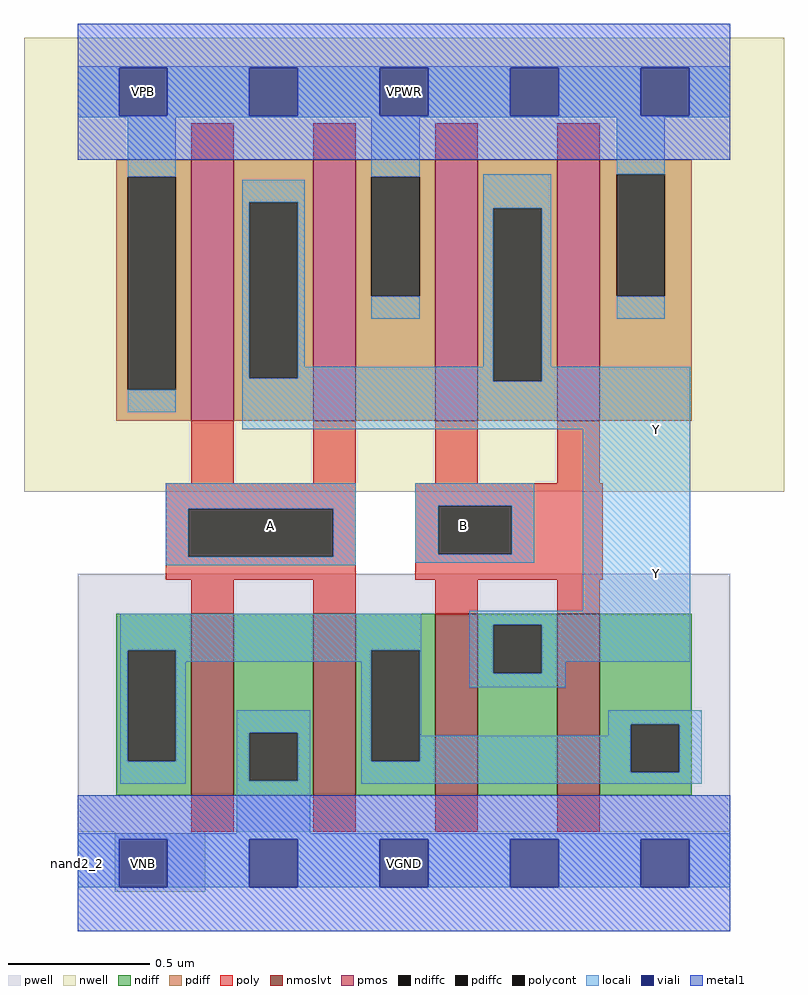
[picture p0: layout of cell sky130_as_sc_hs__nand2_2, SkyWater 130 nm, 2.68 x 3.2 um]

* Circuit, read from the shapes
.subckt sky130_as_sc_hs__nand2_2 VNB VPWR VGND VPB A B Y
XM1 VGND A n1 VNB sky130_fd_pr__nfet_01v8_lvt w=0.64 l=0.15 m=2
XM2 Y B n1 VNB sky130_fd_pr__nfet_01v8_lvt w=0.64 l=0.15 m=2
XM3 Y A VPWR VPB sky130_fd_pr__pfet_01v8 w=0.92 l=0.15 m=2
XM4 Y B VPWR VPB sky130_fd_pr__pfet_01v8 w=0.92 l=0.15 m=2
.ends

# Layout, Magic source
magic
tech sky130A
magscale 1 2
<< nwell >>
rect -38 262 498 582
<< pwell >>
rect 0 22 460 204
rect 26 -20 90 22
<< pmos >>
rect 80 312 110 496
rect 166 312 196 496
rect 252 312 282 496
rect 338 312 368 496
<< nmoslvt >>
rect 80 48 110 176
rect 166 48 196 176
rect 252 48 282 176
rect 338 48 368 176
<< ndiff >>
rect 27 150 80 176
rect 27 72 35 150
rect 69 72 80 150
rect 27 48 80 72
rect 110 92 166 176
rect 110 58 121 92
rect 155 58 166 92
rect 110 48 166 58
rect 196 150 252 176
rect 196 72 207 150
rect 241 72 252 150
rect 196 48 252 72
rect 282 168 338 176
rect 282 134 293 168
rect 327 134 338 168
rect 282 48 338 134
rect 368 98 433 176
rect 368 64 390 98
rect 424 64 433 98
rect 368 48 433 64
<< pdiff >>
rect 27 484 80 496
rect 27 334 35 484
rect 69 334 80 484
rect 27 312 80 334
rect 110 466 166 496
rect 110 342 121 466
rect 155 342 166 466
rect 110 312 166 342
rect 196 484 252 496
rect 196 400 207 484
rect 241 400 252 484
rect 196 312 252 400
rect 282 462 338 496
rect 282 340 293 462
rect 327 340 338 462
rect 282 312 338 340
rect 368 486 433 496
rect 368 400 380 486
rect 414 400 433 486
rect 368 312 433 400
<< ndiffc >>
rect 35 72 69 150
rect 121 58 155 92
rect 207 72 241 150
rect 293 134 327 168
rect 390 64 424 98
<< pdiffc >>
rect 35 334 69 484
rect 121 342 155 466
rect 207 400 241 484
rect 293 340 327 462
rect 380 400 414 486
<< poly >>
rect 80 496 110 522
rect 166 496 196 522
rect 252 496 282 522
rect 338 496 368 522
rect 80 268 110 312
rect 166 268 196 312
rect 252 268 282 312
rect 338 268 368 312
rect 62 250 196 268
rect 62 216 78 250
rect 180 216 196 250
rect 62 200 196 216
rect 238 252 370 268
rect 238 218 254 252
rect 306 218 370 252
rect 238 200 370 218
rect 80 176 110 200
rect 166 176 196 200
rect 252 176 282 200
rect 338 176 368 200
rect 80 22 110 48
rect 166 22 196 48
rect 252 22 282 48
rect 338 22 368 48
<< polycont >>
rect 78 216 180 250
rect 254 218 306 252
<< locali >>
rect 0 561 460 562
rect 0 527 29 561
rect 63 527 121 561
rect 155 527 213 561
rect 247 527 305 561
rect 339 527 397 561
rect 431 527 460 561
rect 0 526 460 527
rect 35 484 69 526
rect 207 484 241 526
rect 380 486 414 526
rect 35 318 69 334
rect 116 466 160 482
rect 116 342 121 466
rect 155 350 160 466
rect 207 384 241 400
rect 286 462 334 486
rect 286 350 293 462
rect 155 342 293 350
rect 116 340 293 342
rect 327 350 334 462
rect 380 384 414 400
rect 327 340 432 350
rect 116 306 432 340
rect 62 250 196 268
rect 62 216 78 250
rect 180 216 196 250
rect 62 210 196 216
rect 238 252 322 268
rect 238 218 254 252
rect 306 218 322 252
rect 238 212 322 218
rect 356 178 432 306
rect 30 150 242 176
rect 30 72 35 150
rect 69 142 207 150
rect 69 72 76 142
rect 30 56 76 72
rect 112 92 164 108
rect 112 58 121 92
rect 155 58 164 92
rect 112 21 164 58
rect 200 72 207 142
rect 241 90 242 150
rect 276 168 432 178
rect 276 134 293 168
rect 327 142 432 168
rect 327 134 344 142
rect 276 124 344 134
rect 374 98 440 108
rect 374 90 390 98
rect 241 72 390 90
rect 200 64 390 72
rect 424 64 440 98
rect 200 56 440 64
rect 0 17 460 21
rect 0 -17 29 17
rect 63 -17 121 17
rect 155 -17 213 17
rect 247 -17 305 17
rect 339 -17 397 17
rect 431 -17 460 17
<< viali >>
rect 29 527 63 561
rect 121 527 155 561
rect 213 527 247 561
rect 305 527 339 561
rect 397 527 431 561
rect 29 -17 63 17
rect 121 -17 155 17
rect 213 -17 247 17
rect 305 -17 339 17
rect 397 -17 431 17
<< metal1 >>
rect 0 561 460 592
rect 0 527 29 561
rect 63 527 121 561
rect 155 527 213 561
rect 247 527 305 561
rect 339 527 397 561
rect 431 527 460 561
rect 0 496 460 527
rect 0 17 460 48
rect 0 -17 29 17
rect 63 -17 121 17
rect 155 -17 213 17
rect 247 -17 305 17
rect 339 -17 397 17
rect 431 -17 460 17
rect 0 -48 460 -17
<< labels >>
rlabel comment s 0 0 0 0 4 nand2_2
flabel pwell s 29 -17 63 17 0 FreeSans 200 0 0 0 VNB
port 1 nsew ground bidirectional
flabel pwell s 46 0 46 0 0 FreeSans 200 0 0 0 VNB
flabel nwell s 29 527 63 561 0 FreeSans 200 0 0 0 VPB
port 4 nsew power bidirectional
flabel nwell s 46 544 46 544 0 FreeSans 200 0 0 0 VPB
flabel metal1 s 29 527 63 561 0 FreeSans 200 0 0 0 VPWR
port 2 nsew power bidirectional abutment
flabel metal1 s 29 -17 63 17 0 FreeSans 200 0 0 0 VGND
port 3 nsew ground bidirectional abutment
rlabel metal1 s 0 -48 460 48 1 VGND
port 3 nsew ground bidirectional abutment
rlabel metal1 s 0 496 460 592 1 VPWR
port 2 nsew power bidirectional abutment
flabel locali 119 221 153 255 0 FreeSans 200 0 0 0 A
port 5 nsew signal input
flabel locali 136 238 136 238 0 FreeSans 200 0 0 0 A
flabel locali 255 221 289 255 0 FreeSans 200 0 0 0 B
port 6 nsew signal input
flabel locali 272 238 272 238 0 FreeSans 200 0 0 0 B
flabel locali 391 187 425 221 0 FreeSans 200 0 0 0 Y
port 7 nsew signal output
flabel locali 408 204 408 204 0 FreeSans 200 0 0 0 Y
flabel locali 391 289 425 323 0 FreeSans 200 0 0 0 Y
port 7 nsew signal output
flabel locali 408 306 408 306 0 FreeSans 200 0 0 0 Y
<< properties >>
string FIXED_BBOX 0 0 460 544
string GDS_FILE $PDKPATH/libs.ref/sky130_as_sc_hs/gds/sky130_as_sc_hs__nand2_2.gds
string LEFclass CORE
string LEFsite unithd
string LEFsymmetry X Y R90
string MASKHINTS_LVTN 0 -4 460 212
string MASKHINTS_NSDM 0 -38 460 201
string MASKHINTS_PSDM 0 287 460 582
<< end >>
